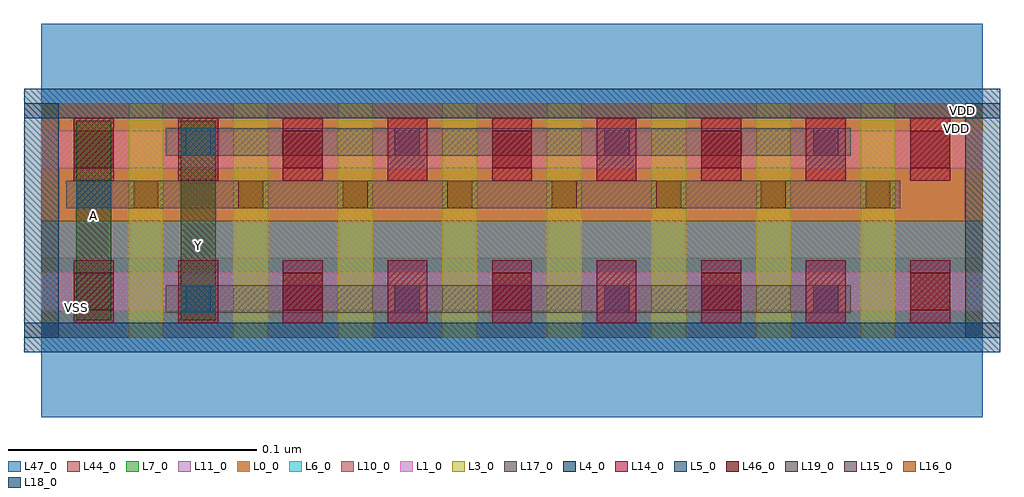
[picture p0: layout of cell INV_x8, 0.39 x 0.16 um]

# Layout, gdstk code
import gdstk
lib = gdstk.Library(unit=1e-6, precision=5e-10)
def R(c, l, rs):  # rectangles x0, y0, x1, y1
    for r in rs: c.add(gdstk.rectangle(r[:2], r[2:], *l))
def A(c, l, x, y, w, h, nx, ny, dx, dy):  # array of equal rectangles
    R(c, l, [(x+i*dx, y+j*dy, x+i*dx+w, y+j*dy+h) for i in range(nx) for j in range(ny)])
L0_0 = (0, 0)
L1_0 = (1, 0)
L3_0 = (3, 0)
L4_0 = (4, 0)
L5_0 = (5, 0)
L6_0 = (6, 0)
L7_0 = (7, 0)
L10_0 = (10, 0)
L11_0 = (11, 0)
L14_0 = (14, 0)
L15_0 = (15, 0)
L16_0 = (16, 0)
L17_0 = (17, 0)
L18_0 = (18, 0)
L19_0 = (19, 0)
L44_0 = (44, 0)
L46_0 = (46, 0)
L47_0 = (47, 0)

inv_x8 = lib.new_cell('INV_x8')
R(inv_x8, L0_0, [(0,0.047,0.378,0.094)])
R(inv_x8, L1_0, [(0,0.011,0.378,0.026), (0,0.068,0.378,0.083)])
A(inv_x8, L3_0, 0.035, 0, 0.014, 0.094, 8, 1, 0.042, 0)
R(inv_x8, L4_0, [(-0.007,-0.006,0.385,0.006), (-0.007,0.088,0.385,0.1)])
R(inv_x8, L5_0, [(-0.007,0,0.007,0.094), (0.371,0,0.385,0.094)])
R(inv_x8, L6_0, [(0,0,0.378,0.047)])
R(inv_x8, L7_0, [(0,0.047,0.378,0.094)])
R(inv_x8, L10_0, [(0,0,0.378,0.047)])
R(inv_x8, L11_0, [(0,0.047,0.378,0.094)])
A(inv_x8, L14_0, 0.013, 0.006, 0.016, 0.025, 9, 2, 0.042, 0.057)
A(inv_x8, L15_0, 0.058, 0.01, 0.01, 0.011, 4, 2, 0.084, 0.063)
A(inv_x8, L16_0, 0.037, 0.052, 0.01, 0.011, 8, 1, 0.042, 0)
R(inv_x8, L17_0, [(0.05,0.01,0.325,0.021), (0.01,0.052,0.345,0.063), (0.05,0.073,0.325,0.084)])
R(inv_x8, L18_0, [(0.056,0.01,0.07,0.021), (0.014,0.052,0.028,0.063), (0.056,0.073,0.07,0.084)])
R(inv_x8, L19_0, [(0.014,0.007,0.028,0.087), (0.056,0.007,0.07,0.087)])
R(inv_x8, L44_0, [(0,0,0.378,0.094)])
A(inv_x8, L46_0, 0.013, 0.011, 0.016, 0.015, 5, 2, 0.084, 0.057)
R(inv_x8, L47_0, [(0,-0.032,0.378,0.032), (0,0.062,0.378,0.126)])
inv_x8.add(gdstk.Label('VSS', (0.014,0.012), layer=47, texttype=2))
inv_x8.add(gdstk.Label('VDD', (0.3675,0.084), layer=47, texttype=2))
inv_x8.add(gdstk.Label('VDD', (0.37,0.091), layer=0, texttype=2))
inv_x8.add(gdstk.Label('Y', (0.063,0.037), layer=19, texttype=2))
inv_x8.add(gdstk.Label('A', (0.021,0.049), layer=19, texttype=2))
inv_x8.add(gdstk.Label('VSS', (0.011,0.008), layer=54, texttype=2))

lib.write_gds('INV_x8.gds')
